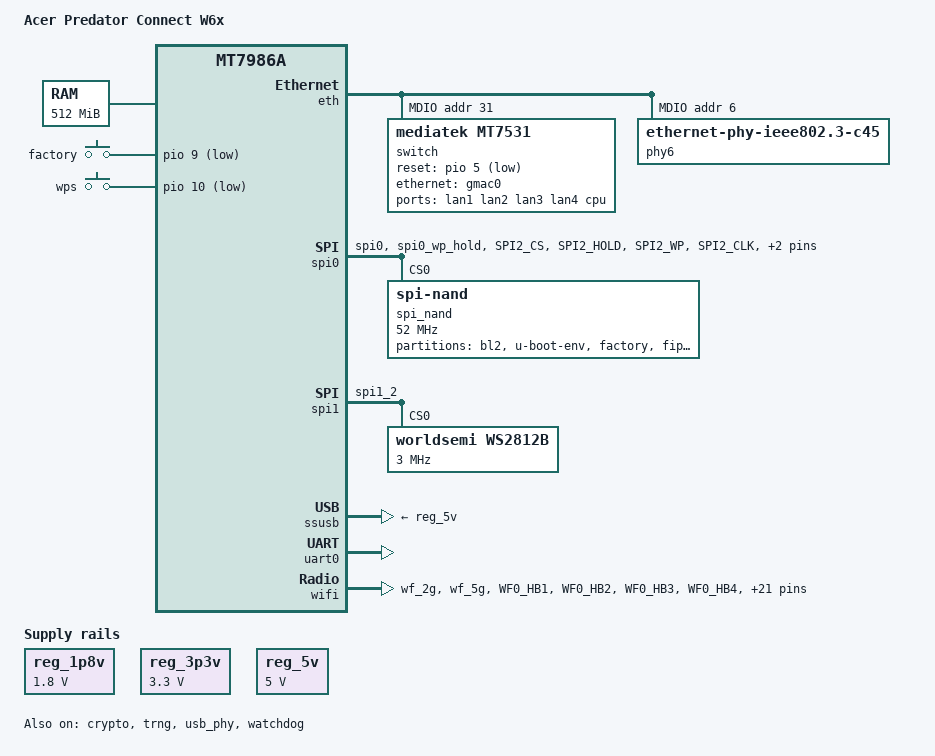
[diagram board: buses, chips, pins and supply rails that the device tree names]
// SPDX-License-Identifier: GPL-2.0-or-later OR MIT

/dts-v1/;
#include <dt-bindings/input/input.h>
#include <dt-bindings/gpio/gpio.h>
#include <dt-bindings/leds/common.h>
#include <dt-bindings/pinctrl/mt65xx.h>

#include "mt7986a.dtsi"

/ {
	model = "Acer Predator Connect W6x";
	compatible = "acer,predator-w6x", "mediatek,mt7986a";

	aliases {
		serial0 = &uart0;
	};

    chosen {
		stdout-path = "serial0:115200n8";
	};

	memory@40000000 {
		reg = <0 0x40000000 0 0x20000000>;
		device_type = "memory";
	};

	reg_1p8v: regulator-1p8v {
		compatible = "regulator-fixed";
		regulator-name = "fixed-1.8V";
		regulator-min-microvolt = <1800000>;
		regulator-max-microvolt = <1800000>;
		regulator-boot-on;
		regulator-always-on;
	};

	reg_3p3v: regulator-3p3v {
		compatible = "regulator-fixed";
		regulator-name = "fixed-3.3V";
		regulator-min-microvolt = <3300000>;
		regulator-max-microvolt = <3300000>;
		regulator-boot-on;
		regulator-always-on;
	};

	reg_5v: regulator-5v {
		compatible = "regulator-fixed";
		regulator-name = "fixed-5V";
		regulator-min-microvolt = <5000000>;
		regulator-max-microvolt = <5000000>;
		regulator-boot-on;
		regulator-always-on;
	};

	gpio-keys {
		compatible = "gpio-keys";

		factory {
			label = "factory";
			linux,code = <KEY_RESTART>;
			gpios = <&pio 9 GPIO_ACTIVE_LOW>;
		};

		wps {
			label = "wps";
			linux,code = <KEY_WPS_BUTTON>;
			gpios = <&pio 10 GPIO_ACTIVE_LOW>;
		};
	};
};

&crypto {
	status = "okay";
};

&eth {
	status = "okay";

	gmac0: mac@0 {
		compatible = "mediatek,eth-mac";
		reg = <0>;
		phy-mode = "2500base-x";

		fixed-link {
			speed = <2500>;
			full-duplex;
			pause;
		};
	};
	gmac1: mac@1 {
		compatible = "mediatek,eth-mac";
		reg = <1>;
		phy-mode = "2500base-x";
		phy-handle = <&phy6>;
	};

	mdio-bus {
		#address-cells = <1>;
		#size-cells = <0>;

		switch@1f {
			compatible = "mediatek,mt7531";
			reg = <31>;
			reset-gpios = <&pio 5 GPIO_ACTIVE_LOW>;

			ports {
				#address-cells = <1>;
				#size-cells = <0>;

				port@1 {
					reg = <1>;
					label = "lan1";
				};

				port@2 {
					reg = <2>;
					label = "lan2";
				};

				port@3 {
					reg = <3>;
					label = "lan3";
				};

				port@4 {
					reg = <4>;
					label = "lan4";
				};

				port@6 {
					reg = <6>;
					label = "cpu";
					ethernet = <&gmac0>;
					phy-mode = "2500base-x";

					fixed-link {
						speed = <2500>;
						full-duplex;
						pause;
					};
				};
			};
		};

		phy6: phy@6 {
			compatible = "ethernet-phy-ieee802.3-c45";
			reg = <6>;

		};
	};
};

&pio {
	spi_flash_pins: spi-flash-pins-33-to-38 {
		mux {
			function = "spi";
			groups = "spi0", "spi0_wp_hold";
		};
		conf-pu {
			pins = "SPI2_CS", "SPI2_HOLD", "SPI2_WP";
			drive-strength = <MTK_DRIVE_8mA>;
			bias-disable; /* bias-disable */
		};
		conf-pd {
			pins = "SPI2_CLK", "SPI2_MOSI", "SPI2_MISO";
			drive-strength = <MTK_DRIVE_8mA>;
			bias-disable; /* bias-disable */
		};
	};

	spi_led_pins: spic-pins-29-to-32 {
		mux {
			function = "spi";
			groups = "spi1_2";
		};
	};

	wf_2g_5g_pins: wf_2g_5g-pins {
		mux {
			function = "wifi";
			groups = "wf_2g", "wf_5g";
		};
		conf {
			pins = "WF0_HB1", "WF0_HB2", "WF0_HB3", "WF0_HB4",
				   "WF0_HB0", "WF0_HB0_B", "WF0_HB5", "WF0_HB6",
				   "WF0_HB7", "WF0_HB8", "WF0_HB9", "WF0_HB10",
				   "WF0_TOP_CLK", "WF0_TOP_DATA", "WF1_HB1",
				   "WF1_HB2", "WF1_HB3", "WF1_HB4", "WF1_HB0",
				   "WF1_HB5", "WF1_HB6", "WF1_HB7", "WF1_HB8",
				   "WF1_TOP_CLK", "WF1_TOP_DATA";
			drive-strength = <MTK_DRIVE_4mA>;
		};
	};

	wf_dbdc_pins: wf-dbdc-pins {
		mux {
			function = "wifi";
			groups = "wf_dbdc";
		};
		conf {
			pins = "WF0_HB1", "WF0_HB2", "WF0_HB3", "WF0_HB4",
				"WF0_HB0", "WF0_HB0_B", "WF0_HB5", "WF0_HB6",
				"WF0_HB7", "WF0_HB8", "WF0_HB9", "WF0_HB10",
				"WF0_TOP_CLK", "WF0_TOP_DATA", "WF1_HB1",
				"WF1_HB2", "WF1_HB3", "WF1_HB4", "WF1_HB0",
				"WF1_HB5", "WF1_HB6", "WF1_HB7", "WF1_HB8",
				"WF1_TOP_CLK", "WF1_TOP_DATA";
			drive-strength = <MTK_DRIVE_4mA>;
		};
	};
};

&spi0 {
	pinctrl-names = "default";
	pinctrl-0 = <&spi_flash_pins>;
	status = "okay";

	spi_nand@0 {
		compatible = "spi-nand";
		#address-cells = <1>;
		#size-cells = <1>;
		reg = <0>;

		spi-max-frequency = <52000000>;
		spi-tx-bus-width = <4>;
		spi-rx-bus-width = <4>;

		partitions {
			compatible = "fixed-partitions";
			#address-cells = <1>;
			#size-cells = <1>;

			partition@0 {
				label = "bl2";
				reg = <0x0 0x100000>;
				read-only;
			};

			partition@100000 {
				label = "u-boot-env";
				reg = <0x100000 0x80000>;
			};

			partition@180000 {
				label = "factory";
				reg = <0x180000 0x200000>;
				read-only;

				nvmem-layout {
					compatible = "fixed-layout";
					#address-cells = <1>;
					#size-cells = <1>;

					eeprom_factory_0: eeprom@0 {
						reg = <0x0 0x1000>;
					};
				};
			};

			partition@380000 {
				label = "fip";
				reg = <0x380000 0x200000>;
				read-only;
			};

			partition@580000 {
				label = "prod";
				reg = <0x580000 0x20000>;
				read-only;
			};

			partition@600000 {
				label = "dual";
				reg = <0x600000 0x100000>;
				read-only;
			};

			partition@700000 {
				label = "pot";
				reg = <0x700000 0x100000>;
				read-only;
			};

			partition@800000 {
				label = "ubi";
				reg = <0x800000 0x6400000>;
			};

			partition@6C00000 {
				label = "ubi1";
				reg = <0x6C00000 0x6400000>;
			};

			partition@D000000 {
				label = "storage";
				reg = <0xD000000 0x800000>;
			};
		};
	};
};

&spi1 {
	pinctrl-names = "default";
	pinctrl-0 = <&spi_led_pins>;
	status = "okay";

	ws2812b@0 {
		#address-cells = <1>;
		#size-cells = <0>;
		compatible = "worldsemi,ws2812b";
		reg = <0>;
		spi-max-frequency = <3000000>;

		led_status_rgb: led@0 {
			reg = <0>;
			function = LED_FUNCTION_STATUS;
			color = <LED_COLOR_ID_RGB>;
			color-index = <LED_COLOR_ID_RED LED_COLOR_ID_GREEN LED_COLOR_ID_BLUE>;
		};
	};
};

&ssusb {
	vusb33-supply = <&reg_3p3v>;
	vbus-supply = <&reg_5v>;
	status = "okay";
};

&trng {
	status = "okay";
};

&uart0 {
	status = "okay";
};

&usb_phy {
	status = "okay";
};

&watchdog {
	status = "okay";
};

&wifi {
	nvmem-cells = <&eeprom_factory_0>;
	nvmem-cell-names = "eeprom";
	pinctrl-names = "default", "dbdc";
	pinctrl-0 = <&wf_2g_5g_pins>;
	pinctrl-1 = <&wf_dbdc_pins>;
	status = "okay";
};
